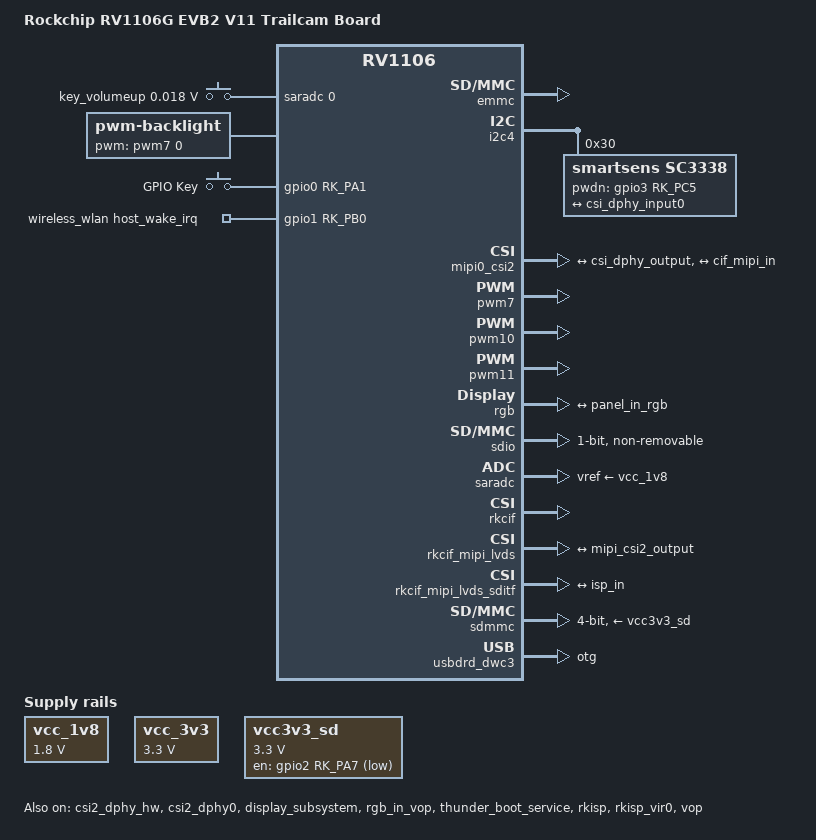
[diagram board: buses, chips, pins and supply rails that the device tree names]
// SPDX-License-Identifier: (GPL-2.0+ OR MIT)
/*
 * Copyright (c) 2023 Rockchip Electronics Co., Ltd.
 */

/dts-v1/;

#include "rv1106.dtsi"
#include "rv1106-evb-v10.dtsi"
#include "dt-bindings/display/media-bus-format.h"
#include "rv1106-thunder-boot-emmc.dtsi"

/ {
	model = "Rockchip RV1106G EVB2 V11 Trailcam Board";
	compatible = "rockchip,rv1106g-evb2-v11-trailcam-emmc", "rockchip,rv1106";

	chosen {
		bootargs = "loglevel=0 rootfstype=erofs rootflags=dax console=ttyFIQ0 root=/dev/rd0 snd_soc_core.prealloc_buffer_size_kbytes=16 coherent_pool=0 driver_async_probe=dwmmc_rockchip";
	};

	/delete-node/ adc-keys;
	adc-keys {
		compatible = "adc-keys";
		io-channels = <&saradc 0>;
		io-channel-names = "buttons";
		poll-interval = <100>;
		keyup-threshold-microvolt = <901715>;

		key_volumeup-key {
			label = "key_volumeup";
			linux,code = <KEY_VOLUMEUP>;
			press-threshold-microvolt = <17578>;
		};
	};

	backlight: backlight {
		status = "okay";
		compatible = "pwm-backlight";
		pwms = <&pwm7 0 25000 0>;
		brightness-levels = <
			  0   1   2   3   4   5   6   7
			  8   9  10  11  12  13  14  15
			 16  17  18  19  20  21  22  23
			 24  25  26  27  28  29  30  31
			 32  33  34  35  36  37  38  39
			 40  41  42  43  44  45  46  47
			 48  49  50  51  52  53  54  55
			 56  57  58  59  60  61  62  63
			 64  65  66  67  68  69  70  71
			 72  73  74  75  76  77  78  79
			 80  81  82  83  84  85  86  87
			 88  89  90  91  92  93  94  95
			 96  97  98  99 100 101 102 103
			104 105 106 107 108 109 110 111
			112 113 114 115 116 117 118 119
			120 121 122 123 124 125 126 127
			128 129 130 131 132 133 134 135
			136 137 138 139 140 141 142 143
			144 145 146 147 148 149 150 151
			152 153 154 155 156 157 158 159
			160 161 162 163 164 165 166 167
			168 169 170 171 172 173 174 175
			176 177 178 179 180 181 182 183
			184 185 186 187 188 189 190 191
			192 193 194 195 196 197 198 199
			200 201 202 203 204 205 206 207
			208 209 210 211 212 213 214 215
			216 217 218 219 220 221 222 223
			224 225 226 227 228 229 230 231
			232 233 234 235 236 237 238 239
			240 241 242 243 244 245 246 247
			248 249 250 251 252 253 254 255>;
		default-brightness-level = <200>;
	};

	gpio-keys {
		compatible = "gpio-keys";
		autorepeat;

		key {
			gpios = <&gpio0 RK_PA1 GPIO_ACTIVE_HIGH>;
			linux,code = <KEY_VOLUMEDOWN>;
			label = "GPIO Key";
			debounce-interval = <100>;
		};
	};

	reserved-memory {
		#address-cells = <1>;
		#size-cells = <1>;
		ranges;
/*
		linux,cma {
			compatible = "shared-dma-pool";
			inactive;
			reusable;
			size = <0x300000>;
			linux,cma-default;
		};
*/
		drm_logo: drm-logo@00000000 {
			compatible = "rockchip,drm-logo";
			reg = <0x0 0x0>;
		};
	};

	vcc_1v8: vcc-1v8 {
		compatible = "regulator-fixed";
		regulator-name = "vcc_1v8";
		regulator-always-on;
		regulator-boot-on;
		regulator-min-microvolt = <1800000>;
		regulator-max-microvolt = <1800000>;
	};

	vcc_3v3: vcc-3v3 {
		compatible = "regulator-fixed";
		regulator-name = "vcc_3v3";
		regulator-always-on;
		regulator-boot-on;
		regulator-min-microvolt = <3300000>;
		regulator-max-microvolt = <3300000>;
	};

	vcc3v3_sd: vcc3v3-sd {
		compatible = "regulator-fixed";
		gpio = <&gpio2 RK_PA7 GPIO_ACTIVE_LOW>;
		regulator-name = "vcc3v3_sd";
		regulator-min-microvolt = <3300000>;
		regulator-max-microvolt = <3300000>;
		pinctrl-names = "default";
		pinctrl-0 = <&sdmmc_pwren>;
	};

	wireless_wlan: wireless-wlan {
		compatible = "wlan-platdata";
		WIFI,host_wake_irq = <&gpio1 RK_PB0 GPIO_ACTIVE_HIGH>;
		status = "okay";
	};
};

&acodec {
	pa-ctl-gpios = <&gpio2 RK_PB0 GPIO_ACTIVE_HIGH>;
};

&csi2_dphy_hw {
	status = "okay";
};

&csi2_dphy0 {
	status = "okay";

	ports {
		#address-cells = <1>;
		#size-cells = <0>;

		port@0 {
			reg = <0>;
			#address-cells = <1>;
			#size-cells = <0>;

			csi_dphy_input0: endpoint@0 {
				reg = <0>;
				remote-endpoint = <&sc3338_out>;
				data-lanes = <1 2>;
			};
		};

		port@1 {
			reg = <1>;
			#address-cells = <1>;
			#size-cells = <0>;

			csi_dphy_output: endpoint@0 {
				reg = <0>;
				remote-endpoint = <&mipi_csi2_input>;
			};
		};
	};
};

&display_subsystem {
	status = "okay";
	logo-memory-region = <&drm_logo>;
};

&emmc {
	status = "okay";
};

&fiq_debugger {
	rockchip,baudrate = <1500000>;
	pinctrl-names = "default";
	pinctrl-0 = <&uart2m1_xfer>;
};

&i2c4 {
	rockchip,amp-shared;

	sc3338: sc3338@30 {
		compatible = "smartsens,sc3338";
		status = "okay";
		reg = <0x30>;
		clocks = <&cru MCLK_REF_MIPI0>;
		clock-names = "xvclk";
		pwdn-gpios = <&gpio3 RK_PC5 GPIO_ACTIVE_HIGH>;
		pinctrl-names = "default";
		pinctrl-0 = <&mipi_refclk_out0>;
		rockchip,camera-module-index = <0>;
		rockchip,camera-module-facing = "back";
		rockchip,camera-module-name = "FKO1";
		rockchip,camera-module-lens-name = "30IRC-F16";
		port {
			sc3338_out: endpoint {
				remote-endpoint = <&csi_dphy_input0>;
				data-lanes = <1 2>;
			};
		};
	};
};

&mipi0_csi2 {
	status = "okay";

	ports {
		#address-cells = <1>;
		#size-cells = <0>;

		port@0 {
			reg = <0>;
			#address-cells = <1>;
			#size-cells = <0>;

			mipi_csi2_input: endpoint@1 {
				reg = <1>;
				remote-endpoint = <&csi_dphy_output>;
			};
		};

		port@1 {
			reg = <1>;
			#address-cells = <1>;
			#size-cells = <0>;

			mipi_csi2_output: endpoint@0 {
				reg = <0>;
				remote-endpoint = <&cif_mipi_in>;
			};
		};
	};
};

&mailbox {
	status = "okay";
};

&pwm7 {
	status = "okay";
	pinctrl-names = "active";
	pinctrl-0 = <&pwm7m1_pins>;
};

&pinctrl {
	sdmmc {
		/omit-if-no-ref/
		sdmmc_pwren: sdmmc-pwren {
			rockchip,pins = <2 RK_PA7 RK_FUNC_GPIO &pcfg_pull_none>;
		};
	};
};

&pwm10 {
	status = "okay";
};

&pwm11 {
	status = "okay";
};

&rgb {
	status = "okay";
	rockchip,data-sync-bypass;
	pinctrl-names = "default";
	/*
	 * rgb3x8_pins for RGB3x8(8bit)
	 * rgb565_pins for RGB565(16bit)
	 */
	pinctrl-0 = <&rgb3x8_pins>;

	/*
	 * 320x480 RGB/MCU screen K350C4516T
	 */
	mcu_panel: mcu-panel {
		/*
		 * MEDIA_BUS_FMT_RGB888_3X8  for RGB3x8(8bit)
		 * MEDIA_BUS_FMT_RGB565_1X16 for RGB565(16bit)
		 */
		bus-format = <MEDIA_BUS_FMT_RGB888_3X8>;
		backlight = <&backlight>;
		enable-gpios = <&gpio2 RK_PA6 GPIO_ACTIVE_LOW>;
		enable-delay-ms = <20>;
		reset-gpios = <&gpio1 RK_PA1 GPIO_ACTIVE_LOW>;
		reset-delay-ms = <10>;
		prepare-delay-ms = <20>;
		unprepare-delay-ms = <20>;
		disable-delay-ms = <20>;
		init-delay-ms = <10>;
		width-mm = <217>;
		height-mm = <136>;

		// type:0 is cmd, 1 is data
		panel-init-sequence = [
			//type delay num val1 val2 val3
			  00   00  01  e0
			  01   00  01  00
			  01   00  01  07
			  01   00  01  0f
			  01   00  01  0d
			  01   00  01  1b
			  01   00  01  0a
			  01   00  01  3c

			  01   00  01  78
			  01   00  01  4a
			  01   00  01  07
			  01   00  01  0e
			  01   00  01  09
			  01   00  01  1b
			  01   00  01  1e
			  01   00  01  0f

			  00   00  01  e1
			  01   00  01  00
			  01   00  01  22
			  01   00  01  24
			  01   00  01  06
			  01   00  01  12
			  01   00  01  07
			  01   00  01  36

			  01   00  01  47
			  01   00  01  47
			  01   00  01  06
			  01   00  01  0a
			  01   00  01  07
			  01   00  01  30
			  01   00  01  37
			  01   00  01  0f

			  00   00  01  c0
			  01   00  01  10
			  01   00  01  10

			  00   00  01  c1
			  01   00  01  41

			  00   00  01  c5
			  01   00  01  00
			  01   00  01  22
			  01   00  01  80

			  00   00  01  36
			  01   00  01  48

			  00   00  01  3a
			  01   00  01  66 /*
					   * interface pixel format:
					   * 66 for RGB3x8(8bit)
					   * 55 for RGB565(16bit)
					   */

			  00   00  01  b0
			  01   00  01  00

			  00   00  01  b1
			  01   00  01  70 /*
					   * frame rate control:
					   * 70 (45hz) for RGB3x8(8bit)
					   * a0 (60hz) for RGB565(16bit)
					   */
			  01   00  01  11
			  00   00  01  b4
			  01   00  01  02
			  00   00  01  B6
			  01   00  01  02 /*
					   * display function control:
					   * 32 for RGB
					   * 02 for MCU
					   */
			  01   00  01  02

			  00   00  01  b7
			  01   00  01  c6

			  00   00  01  be
			  01   00  01  00
			  01   00  01  04

			  00   00  01  e9
			  01   00  01  00

			  00   00  01  f7
			  01   00  01  a9
			  01   00  01  51
			  01   00  01  2c
			  01   00  01  82

			  00   78  01  11
			  00   32  01  29
			  00   00  01  2c
		];

		panel-exit-sequence = [
			//type delay num val1 val2 val3
			00   0a  01  28
			00   78  01  10
		];

		display-timings {
			native-mode = <&kd050fwfba002_timing>;

			kd050fwfba002_timing: timing0 {
				/*
				 * 7840125  for frame rate 45Hz
				 * 10453500 for frame rate 60Hz
				 */
				clock-frequency = <7840125>;
				hactive = <320>;
				vactive = <480>;
				hback-porch = <10>;
				hfront-porch = <5>;
				vback-porch = <10>;
				vfront-porch = <5>;
				hsync-len = <10>;
				vsync-len = <10>;
				hsync-active = <0>;
				vsync-active = <0>;
				de-active = <0>;
				pixelclk-active = <1>;
			};
		};

		port {
			panel_in_rgb: endpoint {
				remote-endpoint = <&rgb_out_panel>;
			};
		};
	};

	ports {
		rgb_out: port@1 {
			reg = <1>;
			#address-cells = <1>;
			#size-cells = <0>;

			rgb_out_panel: endpoint@0 {
				reg = <0>;
				remote-endpoint = <&panel_in_rgb>;
			};
		};
	};
};

&rgb_in_vop {
	status = "okay";
};

&route_rgb {
	status = "disabled";
};

/*
 * The pins of sdmmc1 and lcd are multiplexed
 */
&sdio {
	status = "disabled";
};

&saradc {
	status = "okay";
	vref-supply = <&vcc_1v8>;
};

&thunder_boot_service {
	status = "okay";
};

&rkisp_thunderboot {
	/* reg's offset MUST match with RTOS */
	/*
	 * vicap, capture raw10, ceil(w*10/8/256)*256*h *4(buf num)
	 * e.g. 2304x1296: 0xf30000
	 */
	reg = <0x00860000 0xf30000>;
};

&ramdisk_r {
	reg = <0x1790000 (20 * 0x00100000)>;
};

&ramdisk_c {
	reg = <0x2b90000 (10 * 0x00100000)>;
};

&rkcif {
	status = "okay";
};

&rkcif_mipi_lvds {
	status = "okay";
	memory-region-thunderboot = <&rkisp_thunderboot>;

	pinctrl-names = "default";
	pinctrl-0 = <&mipi_pins>;
	port {
		/* MIPI CSI-2 endpoint */
		cif_mipi_in: endpoint {
			remote-endpoint = <&mipi_csi2_output>;
		};
	};
};

&rkcif_mipi_lvds_sditf {
	status = "okay";

	port {
		/* MIPI CSI-2 endpoint */
		mipi_lvds_sditf: endpoint {
			remote-endpoint = <&isp_in>;
		};
	};
};

&rkisp {
	status = "okay";
};

&rkisp_vir0 {
	status = "okay";

	port@0 {
		isp_in: endpoint {
			remote-endpoint = <&mipi_lvds_sditf>;
		};
	};
};

&sdio {
	max-frequency = <50000000>;
	bus-width = <1>;
	cap-sd-highspeed;
	cap-sdio-irq;
	keep-power-in-suspend;
	non-removable;
	rockchip,default-sample-phase = <90>;
	no-sd;
	no-mmc;
	supports-sdio;
	pinctrl-names = "default";
	pinctrl-0 = <&sdmmc1m0_cmd &sdmmc1m0_clk &sdmmc1m0_bus4>;
	status = "okay";
};

&sdmmc {
	max-frequency = <200000000>;
	no-sdio;
	no-mmc;
	bus-width = <4>;
	cap-mmc-highspeed;
	cap-sd-highspeed;
	disable-wp;
	pinctrl-names = "normal",  "idle";
	pinctrl-0 = <&sdmmc0_clk &sdmmc0_cmd &sdmmc0_det &sdmmc0_bus4>;
	pinctrl-1 = <&sdmmc0_idle_pins &sdmmc0_det>;
	vmmc-supply = <&vcc3v3_sd>;
	status = "okay";
};

&sfc {
	assigned-clocks = <&cru SCLK_SFC>;
	assigned-clock-rates = <125000000>;
	status = "disabled";

	flash@0 {
		compatible = "jedec,spi-nor";
		reg = <0>;
		spi-max-frequency = <125000000>;
		spi-rx-bus-width = <4>;
		spi-tx-bus-width = <1>;
	};
};

&usbdrd_dwc3 {
	dr_mode = "otg";
};

&vop {
	status = "okay";

	/*
	 * Default config is as follows:
	 *
	 * mcu-pix-total = <9>;
	 * mcu-cs-pst = <1>;
	 * mcu-cs-pend = <8>;
	 * mcu-rw-pst = <2>;
	 * mcu-rw-pend = <5>;
	 * mcu-hold-mode = <0>; // default set to 0
	 *
	 * To increase the frame rate, reduce all parameters because
	 * the max dclk rate of mcu is 150M in rv1103/rv1106.
	 */
	mcu-timing {
		mcu-pix-total = <5>;
		mcu-cs-pst = <1>;
		mcu-cs-pend = <4>;
		mcu-rw-pst = <2>;
		mcu-rw-pend = <3>;

		mcu-hold-mode = <0>; // default set to 0
	};
};
